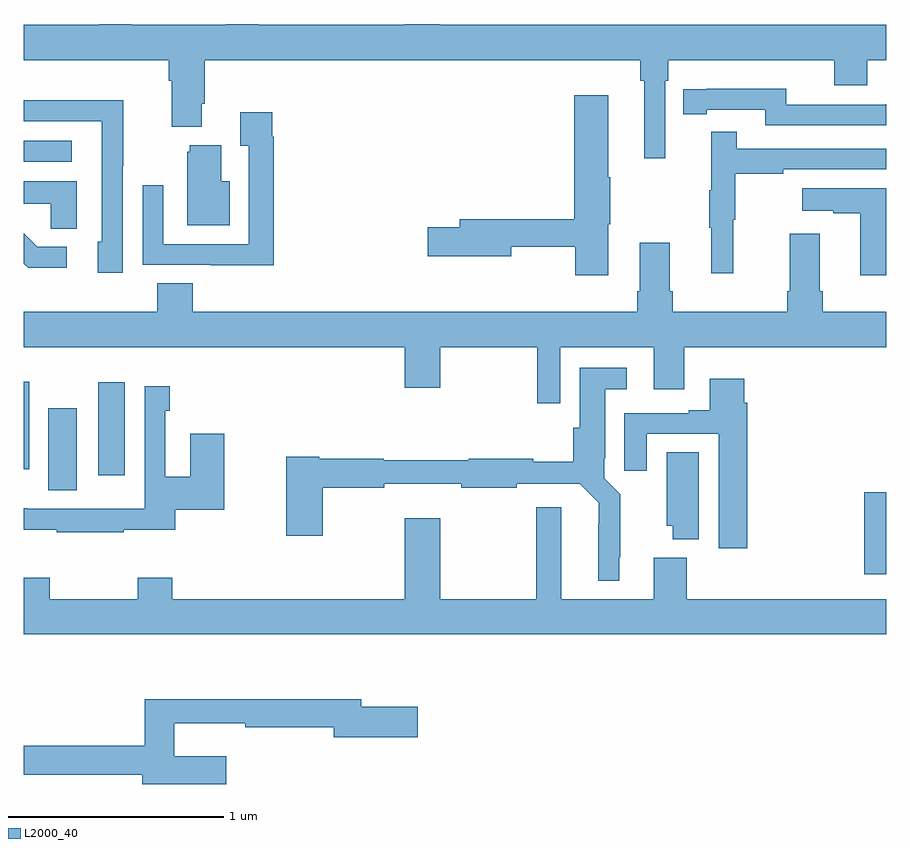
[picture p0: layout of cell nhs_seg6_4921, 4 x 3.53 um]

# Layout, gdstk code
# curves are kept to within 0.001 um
import gdstk
lib = gdstk.Library(unit=1e-6, precision=1e-09)
def R(c, l, rs):  # rectangles x0, y0, x1, y1
    for r in rs: c.add(gdstk.rectangle(r[:2], r[2:], *l))
def P(c, l, *ps):  # polygons
    for p in ps: c.add(gdstk.Polygon(p, *l))
L2000_40 = (2000, 40)

nhs_seg6_4921 = lib.new_cell('nhs_seg6_4921')
R(nhs_seg6_4921, L2000_40, [(406.898,948.947,407,949.327), (403.112,949.336,403.246,949.717), (403.346,949.407,403.468,949.837), (403,949.434,403.024,949.84), (403,950.862,403.222,950.958)])
P(nhs_seg6_4921, L2000_40, [(405.975,951.236),(405.989,951.236),(405.989,951.332),(406.76,951.332),(406.76,951.215),(406.913,951.215),(406.913,951.332),(407,951.332),(407,951.496),(404.932,951.496),(404.932,951.5),(404.768,951.5),(404.768,951.496),(404.09,951.496),(404.09,951.5),(403.937,951.5),(403.937,951.496),(403.501,951.496),(403.501,951.5),(403.349,951.5),(403.349,951.496),(403,951.496),(403,951.332),(403.673,951.332),(403.673,951.236),(403.685,951.236),(403.685,951.023),(403.825,951.023),(403.825,951.13),(403.838,951.13),(403.838,951.332),(405.859,951.332),(405.859,951.236),(405.878,951.236),(405.878,950.877),(405.975,950.877)],
  [(407,951.128),(406.996,951.128),(406.996,951.126),(406.536,951.126),(406.536,951.199),(406.168,951.199),(406.168,951.198),(406.06,951.198),(406.06,951.082),(406.168,951.082),(406.168,951.102),(406.44,951.102),(406.44,951.03),(407,951.03)],
  [(405.712,950.571),(405.72,950.571),(405.72,950.789),(405.712,950.789),(405.712,951.169),(405.554,951.169),(405.554,950.594),(405.023,950.594),(405.023,950.558),(404.874,950.558),(404.874,950.423),(405.262,950.423),(405.262,950.466),(405.559,950.466),(405.559,950.334),(405.712,950.334)],
  [(403.458,950.839),(403.461,950.839),(403.461,951.146),(403,951.146),(403,951.048),(403.362,951.048),(403.362,950.49),(403.343,950.49),(403.343,950.346),(403.458,950.346)],
  [(404.159,950.978),(404.152,950.978),(404.152,951.091),(404.003,951.091),(404.003,950.935),(404.043,950.935),(404.043,950.478),(403.647,950.478),(403.647,950.752),(403.551,950.752),(403.551,950.382),(403.867,950.382),(403.867,950.381),(404.159,950.381)],
  [(406.292,950.592),(406.3,950.592),(406.3,950.806),(406.523,950.806),(406.523,950.826),(407,950.826),(407,950.922),(406.307,950.922),(406.307,951.001),(406.19,951.001),(406.19,950.729),(406.179,950.729),(406.179,950.555),(406.19,950.555),(406.19,950.343),(406.292,950.343)],
  [(403.954,950.77),(403.915,950.77),(403.915,950.938),(403.769,950.938),(403.769,950.907),(403.757,950.907),(403.757,950.567),(403.954,950.567)],
  [(403.246,950.77),(403,950.77),(403,950.666),(403.125,950.666),(403.125,950.551),(403.246,950.551)],
  [(407,950.737),(406.611,950.737),(406.611,950.633),(406.754,950.633),(406.754,950.623),(406.88,950.623),(406.88,950.334),(407,950.334)],
  [(403.198,950.466),(403.063,950.466),(403,950.529),(403,950.388),(403.019,950.369),(403.198,950.369)],
  [(405.489,950),(405.923,950),(405.923,949.806),(406.063,949.806),(406.063,950),(407,950),(407,950.164),(406.706,950.164),(406.706,950.26),(406.693,950.26),(406.693,950.527),(406.553,950.527),(406.553,950.26),(406.541,950.26),(406.541,950.164),(406.01,950.164),(406.01,950.26),(405.997,950.26),(405.997,950.485),(405.857,950.485),(405.857,950.26),(405.845,950.26),(405.845,950.164),(403.784,950.164),(403.784,950.297),(403.619,950.297),(403.619,950.164),(403,950.164),(403,950),(404.768,950),(404.768,949.812),(404.932,949.812),(404.932,950),(405.381,950),(405.381,949.74),(405.489,949.74)],
  [(405.763,949.027),(405.767,949.027),(405.767,949.318),(405.693,949.392),(405.693,949.486),(405.697,949.486),(405.697,949.805),(405.796,949.805),(405.796,949.906),(405.578,949.906),(405.578,949.626),(405.548,949.626),(405.548,949.469),(405.364,949.469),(405.364,949.484),(405.064,949.484),(405.064,949.477),(404.67,949.477),(404.67,949.484),(404.37,949.484),(404.37,949.492),(404.216,949.492),(404.216,949.125),(404.387,949.125),(404.387,949.348),(404.672,949.348),(404.672,949.367),(405.028,949.367),(405.028,949.348),(405.287,949.348),(405.287,949.368),(405.578,949.368),(405.666,949.28),(405.665,948.917),(405.763,948.917)],
  [(406.355,949.742),(406.342,949.742),(406.342,949.855),(406.181,949.855),(406.181,949.708),(406.085,949.708),(406.085,949.695),(405.785,949.695),(405.785,949.428),(405.889,949.428),(405.889,949.599),(406.223,949.599),(406.223,949.068),(406.355,949.068)],
  [(403.463,949.153),(403.703,949.153),(403.703,949.247),(403.93,949.247),(403.93,949.6),(403.772,949.6),(403.772,949.4),(403.656,949.4),(403.656,949.706),(403.676,949.706),(403.676,949.819),(403.56,949.819),(403.56,949.252),(403.35,949.252),(403.35,949.251),(403.016,949.251),(403.016,949.253),(403,949.253),(403,949.153),(403.153,949.153),(403.153,949.143),(403.463,949.143)],
  [(406.132,949.514),(405.983,949.514),(405.983,949.173),(406.01,949.173),(406.01,949.109),(406.132,949.109)],
  [(407,948.832),(406.076,948.832),(406.076,949.024),(405.923,949.024),(405.923,948.832),(405.493,948.832),(405.493,949.258),(405.376,949.258),(405.376,948.832),(404.932,948.832),(404.932,949.207),(404.768,949.207),(404.768,948.832),(403.688,948.832),(403.688,948.931),(403.528,948.931),(403.528,948.832),(403.119,948.832),(403.119,948.931),(403,948.931),(403,948.668),(407,948.668)],
  [(403.939,948.103),(403.697,948.103),(403.697,948.257),(404.026,948.257),(404.026,948.238),(404.438,948.238),(404.438,948.191),(404.827,948.191),(404.827,948.333),(404.566,948.333),(404.566,948.367),(403.561,948.367),(403.561,948.152),(403,948.152),(403,948.016),(403.55,948.016),(403.55,947.974),(403.939,947.974)])

lib.write_gds('nhs_seg6_4921.gds')
